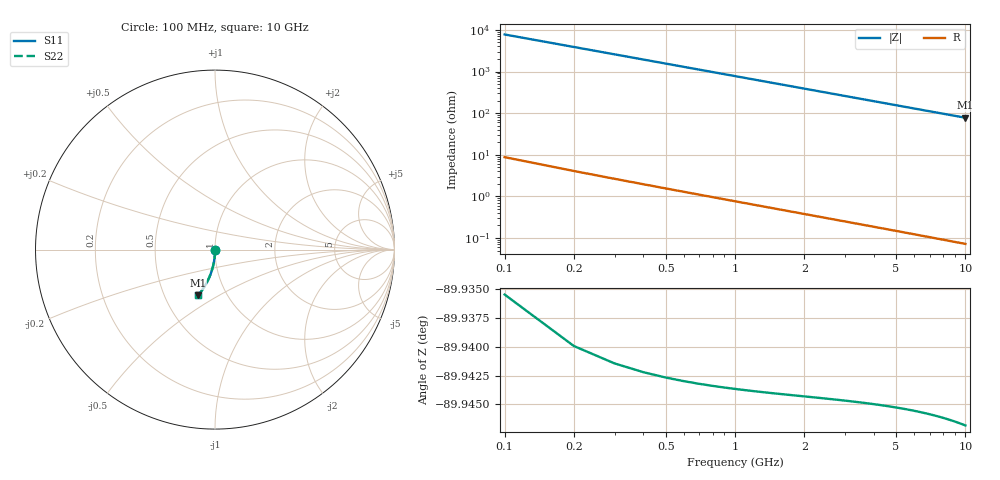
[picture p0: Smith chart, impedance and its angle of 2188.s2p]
# Hz S RI R 50.00
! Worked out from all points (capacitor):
!   100 points, 100 MHz to 10 GHz, reference 50 ohm
!   read as one part in shunt: C = 205 fF near 100 MHz
!   lowest |Z| = 77.6 ohm at 10 GHz (marker M1)
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1e8  0.000137 -0.00283  0.9998 -0.00361  0.9998 -0.00361  0.000137 -0.00283
2e8  0.000104 -0.00566  0.9998 -0.00723  0.9998 -0.00723  0.000104 -0.00566
3e8  5.07e-05 -0.00848  0.9997 -0.0108  0.9997 -0.0108  5.07e-05 -0.00848
4e8  -2.33e-05 -0.0113  0.9997 -0.0145  0.9997 -0.0145  -2.33e-05 -0.0113
5e8  -0.000118 -0.0141  0.9996 -0.0181  0.9996 -0.0181  -0.000118 -0.0141
6e8  -0.000233 -0.017  0.9994 -0.0217  0.9994 -0.0217  -0.000233 -0.017
7e8  -0.000368 -0.0198  0.9993 -0.0253  0.9993 -0.0253  -0.000368 -0.0198
8e8  -0.000524 -0.0226  0.9991 -0.0289  0.9991 -0.0289  -0.000524 -0.0226
9e8  -0.000701 -0.0254  0.999 -0.0325  0.999 -0.0325  -0.000701 -0.0254
1.1e9  -0.00111 -0.0311  0.9985 -0.0397  0.9985 -0.0397  -0.00111 -0.0311
1.4e9  -0.00189 -0.0395  0.9977 -0.0505  0.9977 -0.0505  -0.00189 -0.0395
1.8e9  -0.0032 -0.0508  0.9964 -0.0649  0.9964 -0.0649  -0.0032 -0.0508
2.1e9  -0.0044 -0.0592  0.9951 -0.0757  0.9951 -0.0757  -0.0044 -0.0592
2.5e9  -0.00629 -0.0703  0.9932 -0.09  0.9932 -0.09  -0.00629 -0.0703
2.9e9  -0.00848 -0.0814  0.9909 -0.1042  0.9909 -0.1042  -0.00848 -0.0814
3.4e9  -0.0117 -0.0951  0.9876 -0.1219  0.9876 -0.1219  -0.0117 -0.0951
4.2e9  -0.0178 -0.1168  0.9813 -0.1499  0.9813 -0.1499  -0.0178 -0.1168
5.1e9  -0.0261 -0.1406  0.9727 -0.1808  0.9727 -0.1808  -0.0261 -0.1406
5.9e9  -0.0347 -0.1611  0.9638 -0.2077  0.9638 -0.2077  -0.0347 -0.1611
6.7e9  -0.0445 -0.1811  0.9538 -0.2341  0.9538 -0.2341  -0.0445 -0.1811
8.4e9  -0.0685 -0.221  0.9289 -0.2876  0.9289 -0.2876  -0.0685 -0.221
1e10  -0.0948 -0.2551  0.9016 -0.3347  0.9016 -0.3347  -0.0948 -0.2551
